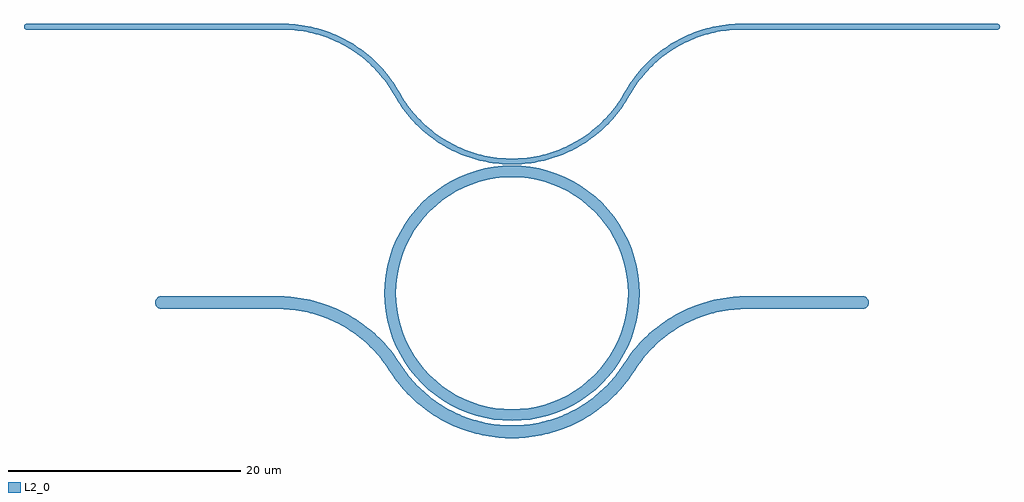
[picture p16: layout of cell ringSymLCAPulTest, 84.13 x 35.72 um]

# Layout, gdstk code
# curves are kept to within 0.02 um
import gdstk
lib = gdstk.Library(unit=1e-6, precision=1e-09)
def P(c, l, *ps):  # polygons
    for p in ps: c.add(gdstk.Polygon(p, *l))
L2_0 = (2, 0)

ringsymlcapultest = lib.new_cell('ringSymLCAPulTest')
P(ringsymlcapultest, L2_0, [(10,-31),(9.215,-30.972),(8.435,-30.888),(7.662,-30.749),(6.901,-30.554),(6.156,-30.306),(5.43,-30.006),(4.728,-29.654),(4.053,-29.254),(3.408,-28.806),(2.797,-28.313),(2.222,-27.778),(1.687,-27.203),(1.194,-26.592),(0.746,-25.947),(0.346,-25.272),(-0.006,-24.57),(-0.306,-23.844),(-0.554,-23.099),(-0.749,-22.338),(-0.888,-21.565),(-0.972,-20.785),(-1,-20),(-0.972,-19.215),(-0.888,-18.435),(-0.749,-17.662),(-0.554,-16.901),(-0.306,-16.156),(-0.006,-15.43),(0.346,-14.728),(0.746,-14.053),(1.194,-13.408),(1.687,-12.797),(2.222,-12.222),(2.797,-11.687),(3.408,-11.194),(4.053,-10.746),(4.728,-10.346),(5.43,-9.994),(6.156,-9.694),(6.901,-9.446),(7.662,-9.251),(8.435,-9.112),(9.215,-9.028),(10,-9),(10.785,-9.028),(11.565,-9.112),(12.338,-9.251),(13.099,-9.446),(13.844,-9.694),(14.57,-9.994),(15.272,-10.346),(15.947,-10.746),(16.592,-11.194),(17.203,-11.687),(17.778,-12.222),(18.313,-12.797),(18.806,-13.408),(19.254,-14.053),(19.654,-14.728),(20.006,-15.43),(20.306,-16.156),(20.554,-16.901),(20.749,-17.662),(20.888,-18.435),(20.972,-19.215),(21,-20),(20,-20),(19.975,-19.287),(19.898,-18.577),(19.771,-17.874),(19.595,-17.183),(19.369,-16.505),(19.096,-15.846),(18.777,-15.208),(18.413,-14.594),(18.005,-14.007),(17.557,-13.451),(17.071,-12.929),(16.549,-12.443),(15.993,-11.995),(15.406,-11.587),(14.792,-11.223),(14.154,-10.904),(13.495,-10.631),(12.817,-10.405),(12.126,-10.229),(11.423,-10.102),(10.713,-10.025),(10,-10),(9.287,-10.025),(8.577,-10.102),(7.874,-10.229),(7.183,-10.405),(6.505,-10.631),(5.846,-10.904),(5.208,-11.223),(4.594,-11.587),(4.007,-11.995),(3.451,-12.443),(2.929,-12.929),(2.443,-13.451),(1.995,-14.007),(1.587,-14.594),(1.223,-15.208),(0.904,-15.846),(0.631,-16.505),(0.405,-17.183),(0.229,-17.874),(0.102,-18.577),(0.025,-19.287),(0,-20),(0.025,-20.713),(0.102,-21.423),(0.229,-22.126),(0.405,-22.817),(0.631,-23.495),(0.904,-24.154),(1.223,-24.792),(1.587,-25.406),(1.995,-25.993),(2.443,-26.549),(2.929,-27.071),(3.451,-27.557),(4.007,-28.005),(4.594,-28.413),(5.208,-28.777),(5.846,-29.096),(6.505,-29.369),(7.183,-29.595),(7.874,-29.771),(8.577,-29.898),(9.287,-29.975),(10,-30),(10.713,-29.975),(11.423,-29.898),(12.126,-29.771),(12.817,-29.595),(13.495,-29.369),(14.154,-29.096),(14.792,-28.777),(15.406,-28.413),(15.993,-28.005),(16.549,-27.557),(17.071,-27.071),(17.557,-26.549),(18.005,-25.993),(18.413,-25.406),(18.777,-24.792),(19.096,-24.154),(19.369,-23.495),(19.595,-22.817),(19.771,-22.126),(19.898,-21.423),(19.975,-20.713),(20,-20),(21,-20),(20.972,-20.785),(20.888,-21.565),(20.749,-22.338),(20.554,-23.099),(20.306,-23.844),(20.006,-24.57),(19.654,-25.272),(19.254,-25.947),(18.806,-26.592),(18.313,-27.203),(17.778,-27.778),(17.203,-28.313),(16.592,-28.806),(15.947,-29.254),(15.272,-29.654),(14.57,-30.006),(13.844,-30.306),(13.099,-30.554),(12.338,-30.749),(11.565,-30.888),(10.785,-30.972)],
  [(10,-8.9),(9.162,-8.87),(8.328,-8.779),(7.502,-8.628),(6.69,-8.418),(5.895,-8.149),(5.122,-7.824),(4.374,-7.444),(3.655,-7.011),(2.97,-6.527),(2.321,-5.995),(1.331,-5.008),(0.467,-3.909),(-0.397,-2.5),(-1.007,-1.62),(-1.699,-0.804),(-2.466,-0.057),(-3.301,0.612),(-4.43,1.33),(-5.637,1.907),(-6.646,2.261),(-7.424,2.462),(-8.213,2.607),(-9.546,2.719),(-31.814,2.723),(-31.814,3.223),(-9.534,3.219),(-8.697,3.169),(-8.141,3.101),(-7.316,2.951),(-6.773,2.817),(-5.972,2.568),(-5.448,2.37),(-4.935,2.147),(-4.187,1.767),(-3.469,1.334),(-3.008,1.017),(-2.135,0.317),(-1.333,-0.462),(-0.611,-1.316),(-0.124,-2),(0.878,-3.625),(1.53,-4.474),(2.07,-5.067),(2.652,-5.62),(3.706,-6.443),(4.616,-7.007),(5.332,-7.371),(6.072,-7.682),(6.833,-7.939),(7.61,-8.14),(8.4,-8.284),(9.198,-8.371),(10,-8.4),(10.802,-8.371),(11.6,-8.284),(12.39,-8.14),(13.167,-7.939),(13.928,-7.682),(14.668,-7.371),(15.384,-7.007),(16.294,-6.443),(17.348,-5.62),(17.93,-5.067),(18.47,-4.474),(19.122,-3.625),(20.124,-2),(20.611,-1.316),(21.333,-0.462),(22.135,0.317),(23.008,1.017),(23.469,1.334),(24.187,1.767),(24.935,2.147),(25.448,2.37),(25.972,2.568),(26.773,2.817),(27.316,2.951),(28.141,3.101),(28.697,3.169),(29.534,3.219),(51.814,3.223),(51.814,2.723),(29.546,2.719),(28.213,2.607),(27.424,2.462),(26.646,2.261),(25.637,1.907),(24.43,1.33),(23.301,0.612),(22.466,-0.057),(21.699,-0.804),(21.007,-1.62),(20.397,-2.5),(19.533,-3.909),(18.669,-5.008),(17.679,-5.995),(17.03,-6.527),(16.345,-7.011),(15.626,-7.444),(14.878,-7.824),(14.105,-8.149),(13.31,-8.418),(12.498,-8.628),(11.672,-8.779),(10.838,-8.87)],
  [(-31.814,2.723),(-31.911,2.742),(-31.99,2.796),(-32.044,2.875),(-32.064,2.973),(-32.007,3.132),(-31.911,3.203),(-31.814,3.223)],
  [(51.814,2.723),(51.814,3.223),(51.973,3.166),(52.034,3.092),(52.064,2.973),(52.044,2.875),(51.99,2.796),(51.911,2.742)],
  [(10,-32.5),(9.142,-32.471),(8.288,-32.382),(7.442,-32.235),(6.608,-32.031),(5.79,-31.77),(4.992,-31.453),(3.965,-30.947),(3.227,-30.506),(2.071,-29.664),(1.427,-29.096),(0.822,-28.486),(0.084,-27.611),(-0.859,-26.237),(-1.329,-25.61),(-1.84,-25.018),(-2.584,-24.284),(-3.391,-23.622),(-4.255,-23.036),(-5.169,-22.532),(-5.883,-22.21),(-6.617,-21.938),(-7.622,-21.655),(-8.391,-21.503),(-9.428,-21.384),(-10.211,-21.357),(-20.211,-21.357),(-20.211,-20.257),(-9.638,-20.27),(-8.782,-20.339),(-7.933,-20.466),(-6.818,-20.726),(-6,-20.988),(-4.941,-21.422),(-3.926,-21.952),(-2.964,-22.572),(-2.063,-23.278),(-1.431,-23.859),(-0.654,-24.7),(-0.123,-25.375),(0.8,-26.733),(1.63,-27.74),(2.181,-28.296),(2.769,-28.813),(3.823,-29.582),(4.496,-29.983),(5.194,-30.338),(6.16,-30.734),(6.906,-30.972),(7.667,-31.159),(8.438,-31.293),(9.217,-31.373),(10,-31.4),(10.783,-31.373),(11.562,-31.293),(12.333,-31.159),(13.094,-30.972),(13.84,-30.734),(14.806,-30.338),(15.504,-29.983),(16.177,-29.582),(17.231,-28.813),(17.819,-28.296),(18.37,-27.74),(19.2,-26.733),(20.123,-25.375),(20.654,-24.7),(21.431,-23.859),(22.063,-23.278),(22.964,-22.572),(23.926,-21.952),(24.941,-21.422),(26,-20.988),(26.818,-20.726),(27.933,-20.466),(28.782,-20.339),(29.638,-20.27),(40.211,-20.257),(40.211,-21.357),(30.211,-21.357),(29.428,-21.384),(28.391,-21.503),(27.622,-21.655),(26.617,-21.938),(25.883,-22.21),(25.169,-22.532),(24.255,-23.036),(23.391,-23.622),(22.584,-24.284),(21.84,-25.018),(21.329,-25.61),(20.859,-26.237),(19.916,-27.611),(19.178,-28.486),(18.573,-29.096),(17.929,-29.664),(16.773,-30.506),(16.035,-30.947),(15.008,-31.453),(14.21,-31.77),(13.392,-32.031),(12.558,-32.235),(11.712,-32.382),(10.858,-32.471)],
  [(-20.211,-21.357),(-20.425,-21.314),(-20.599,-21.196),(-20.717,-21.021),(-20.761,-20.807),(-20.717,-20.593),(-20.599,-20.418),(-20.425,-20.3),(-20.211,-20.257)],
  [(40.211,-21.357),(40.211,-20.257),(40.425,-20.3),(40.599,-20.418),(40.717,-20.593),(40.761,-20.807),(40.717,-21.021),(40.599,-21.196),(40.425,-21.314)])

lib.write_gds('ringSymLCAPulTest.gds')
